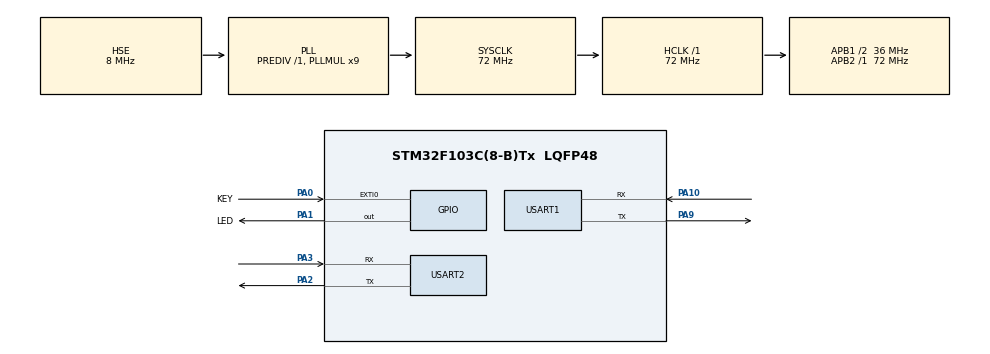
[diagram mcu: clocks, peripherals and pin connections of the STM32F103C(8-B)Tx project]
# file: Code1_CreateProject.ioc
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FREERTOS.Tasks01=defaultTask,24,128,StartDefaultTask,As weak,NULL,Dynamic,NULL,NULL;MyTask,8,512,StartMyTask,As external,NULL,Dynamic,NULL,NULL
Mcu.Family=STM32F1
Mcu.Name=STM32F103C(8-B)Tx
Mcu.Package=LQFP48
NVIC.EXTI0_IRQn=true\:5\:0\:true\:true\:true\:1\:true\:true\:true
NVIC.PriorityGroup=NVIC_PRIORITYGROUP_4
NVIC.TIM1_UP_IRQn=true\:15\:0\:false\:false\:true\:false\:false\:true
NVIC.TimeBase=TIM1_UP_IRQn
NVIC.TimeBaseIP=TIM1
NVIC.USART2_IRQn=true\:5\:0\:false\:true\:true\:2\:true\:true\:true
PA0-WKUP.GPIO_Label=KEY
PA0-WKUP.GPIO_ModeDefaultEXTI=GPIO_MODE_IT_FALLING
PA0-WKUP.Signal=GPXTI0
PA1.GPIO_Label=LED
PA1.GPIO_ModeDefaultOutputPP=GPIO_MODE_OUTPUT_PP
PA1.GPIO_PuPd=GPIO_NOPULL
PA1.Signal=GPIO_Output
PA10.Mode=Asynchronous
PA10.Signal=USART1_RX
PA13.Mode=Serial_Wire
PA13.Signal=SYS_JTMS-SWDIO
PA14.Mode=Serial_Wire
PA14.Signal=SYS_JTCK-SWCLK
PA2.Mode=Asynchronous
PA2.Signal=USART2_TX
PA3.Mode=Asynchronous
PA3.Signal=USART2_RX
PA9.Mode=Asynchronous
PA9.Signal=USART1_TX
PD0-OSC_IN.Mode=HSE-External-Oscillator
PD0-OSC_IN.Signal=RCC_OSC_IN
PD1-OSC_OUT.Mode=HSE-External-Oscillator
PD1-OSC_OUT.Signal=RCC_OSC_OUT
ProjectManager.HeapSize=0x200
ProjectManager.StackSize=0x400
ProjectManager.TargetToolchain=MDK-ARM V5.32
RCC.AHBFreq_Value=72000000
RCC.APB1CLKDivider=RCC_HCLK_DIV2
RCC.APB1Freq_Value=36000000
RCC.APB1TimFreq_Value=72000000
RCC.APB2Freq_Value=72000000
RCC.APB2TimFreq_Value=72000000
RCC.HCLKFreq_Value=72000000
RCC.PLLMUL=RCC_PLL_MUL9
RCC.PLLSourceVirtual=RCC_PLLSOURCE_HSE
RCC.SYSCLKFreq_VALUE=72000000
RCC.SYSCLKSource=RCC_SYSCLKSOURCE_PLLCLK
RCC.USBFreq_Value=72000000
USART1.VirtualMode=VM_ASYNC
USART2.VirtualMode=VM_ASYNC
VP_FREERTOS_VS_CMSIS_V2.Mode=CMSIS_V2
VP_SYS_VS_tim1.Mode=TIM1
board=custom

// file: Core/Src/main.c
/* USER CODE BEGIN Header */
/**
  ******************************************************************************
  * @file           : main.c
  * @brief          : Main program body
  ******************************************************************************
  * @attention
  *
  * Copyright (c) 2022 STMicroelectronics.
  * All rights reserved.
  *
  * This software is licensed under terms that can be found in the LICENSE file
  * in the root directory of this software component.
  * If no LICENSE file comes with this software, it is provided AS-IS.
  *
  ******************************************************************************
  */
/* USER CODE END Header */
#include "main.h"
#include "cmsis_os.h"
#include "usart.h"
#include "gpio.h"

/* USER CODE BEGIN Includes */
#include <stdio.h>
#include "mqttclient.h"
#include "platform_mutex.h"

/* USER CODE END Includes */

void SystemClock_Config(void);
void MX_FREERTOS_Init(void);
static void MX_NVIC_Init(void);
/* USER CODE BEGIN PFP */
#include <stdio.h>
#include <string.h>
/* USER CODE END PFP */

/* USER CODE BEGIN 0 */

mqtt_client_t *client = NULL;

void StartMyTask(void *argument)
{

	mqtt_log_init();

	client = mqtt_lease();
	/*配置host和port*/
	mqtt_set_port(client, "1883");
	mqtt_set_host(client, "mqtts.heclouds.com");
	mqtt_set_client_id(client, random_string(10));
	mqtt_set_user_name(client, random_string(10));
	mqtt_set_password(client, random_string(10));
	mqtt_set_clean_session(client, 1);

	/*连接服务器*/
	mqtt_connect(client);

	while(1)
	{
		/*连接完OneNet服务器后，删除该任务*/
		vTaskDelete(NULL);
	}

}

/* USER CODE END 0 */

int main(void)
{
  /* USER CODE BEGIN 1 */
//  uint8_t wifi_data[200] = {0};
  /* USER CODE END 1 */

  /* MCU Configuration--------------------------------------------------------*/

  /* Reset of all peripherals, Initializes the Flash interface and the Systick. */
  HAL_Init();

  /* Configure the system clock */
  SystemClock_Config();

  /* Initialize all configured peripherals */
  MX_GPIO_Init();
  MX_USART1_UART_Init();
  MX_USART2_UART_Init();

  /* Initialize interrupts */
  MX_NVIC_Init();
  /* USER CODE BEGIN 2 */
  //Key_Update_WIFI((char *)wifi_data, 500);

  //USART_StartRx();   //启动�?始接收数�?
  //USART2_Transmit(tx_data, sizeof(tx_data), 500); //向模块发送数�?
  EnableUART2IRQ();

  /* USER CODE END 2 */

  /* Init scheduler */
  osKernelInitialize();  /* Call init function for freertos objects (in freertos.c) */
  MX_FREERTOS_Init();
  /* Start scheduler */
  osKernelStart();

  /* We should never get here as control is now taken by the scheduler */
  /* Infinite loop */
  while (1)
  {

  }
}

void SystemClock_Config(void)
{
  RCC_OscInitTypeDef RCC_OscInitStruct = {0};
  RCC_ClkInitTypeDef RCC_ClkInitStruct = {0};

  /** Initializes the RCC Oscillators according to the specified parameters
  * in the RCC_OscInitTypeDef structure.
  */
  RCC_OscInitStruct.OscillatorType = RCC_OSCILLATORTYPE_HSE;
  RCC_OscInitStruct.HSEState = RCC_HSE_ON;
  RCC_OscInitStruct.HSEPredivValue = RCC_HSE_PREDIV_DIV1;
  RCC_OscInitStruct.HSIState = RCC_HSI_ON;
  RCC_OscInitStruct.PLL.PLLState = RCC_PLL_ON;
  RCC_OscInitStruct.PLL.PLLSource = RCC_PLLSOURCE_HSE;
  RCC_OscInitStruct.PLL.PLLMUL = RCC_PLL_MUL9;
  if (HAL_RCC_OscConfig(&RCC_OscInitStruct) != HAL_OK)
  {
    Error_Handler();
  }
  /** Initializes the CPU, AHB and APB buses clocks
  */
  RCC_ClkInitStruct.ClockType = RCC_CLOCKTYPE_HCLK|RCC_CLOCKTYPE_SYSCLK
                              |RCC_CLOCKTYPE_PCLK1|RCC_CLOCKTYPE_PCLK2;
  RCC_ClkInitStruct.SYSCLKSource = RCC_SYSCLKSOURCE_PLLCLK;
  RCC_ClkInitStruct.AHBCLKDivider = RCC_SYSCLK_DIV1;
  RCC_ClkInitStruct.APB1CLKDivider = RCC_HCLK_DIV2;
  RCC_ClkInitStruct.APB2CLKDivider = RCC_HCLK_DIV1;

  if (HAL_RCC_ClockConfig(&RCC_ClkInitStruct, FLASH_LATENCY_2) != HAL_OK)
  {
    Error_Handler();
  }
}

/**
  * @brief NVIC Configuration.
  * @retval None
  */
static void MX_NVIC_Init(void)
{
  /* EXTI0_IRQn interrupt configuration */
  HAL_NVIC_SetPriority(EXTI0_IRQn, 5, 0);
  //HAL_NVIC_EnableIRQ(EXTI0_IRQn);
  /* USART2_IRQn interrupt configuration */
  HAL_NVIC_SetPriority(USART2_IRQn, 5, 0);
  HAL_NVIC_EnableIRQ(USART2_IRQn);
}

void HAL_TIM_PeriodElapsedCallback(TIM_HandleTypeDef *htim)
{
  if (htim->Instance == TIM1) {
    HAL_IncTick();
  }
}

void Error_Handler(void)
{
  __disable_irq();
  while (1)
  {
  }
}

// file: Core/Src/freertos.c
/* USER CODE BEGIN Header */
/**
  ******************************************************************************
  * File Name          : freertos.c
  * Description        : Code for freertos applications
  ******************************************************************************
  * @attention
  *
  * Copyright (c) 2022 STMicroelectronics.
  * All rights reserved.
  *
  * This software is licensed under terms that can be found in the LICENSE file
  * in the root directory of this software component.
  * If no LICENSE file comes with this software, it is provided AS-IS.
  *
  ******************************************************************************
  */
/* USER CODE END Header */

#include "FreeRTOS.h"
#include "task.h"
#include "main.h"
#include "cmsis_os.h"

/* USER CODE BEGIN Includes */
#include "driver_dht11.h"
/* USER CODE END Includes */

/* Definitions for defaultTask */
osThreadId_t defaultTaskHandle;
const osThreadAttr_t defaultTask_attributes = {
  .name = "defaultTask",
  .stack_size = 128 * 4,
  .priority = (osPriority_t) osPriorityNormal,
};
/* USER CODE BEGIN FunctionPrototypes */
extern void DHT11_Task (void *params);
/* USER CODE END FunctionPrototypes */

void StartDefaultTask(void *argument);
extern void StartMyTask(void *argument);

void MX_FREERTOS_Init(void); /* (MISRA C 2004 rule 8.1) */

void MX_FREERTOS_Init(void) {
  /* USER CODE BEGIN Init */
	TaskHandle_t  xDHT11TaskHandle=NULL;
	TaskHandle_t  MyTaskHandle=NULL;
  /* USER CODE END Init */

  /* Create the thread(s) */
  /* creation of defaultTask */
  defaultTaskHandle = osThreadNew(StartDefaultTask, NULL, &defaultTask_attributes);

  xTaskCreate(StartMyTask, "StartMyTask", 512, NULL, osPriorityNormal+2, &MyTaskHandle);
	xTaskCreate(DHT11_Task, "DHT11Task", 100, NULL, osPriorityNormal+1, &xDHT11TaskHandle);

}

__weak void StartDefaultTask(void *argument)
{
  for(;;)
  {
    osDelay(1);
  }
}
